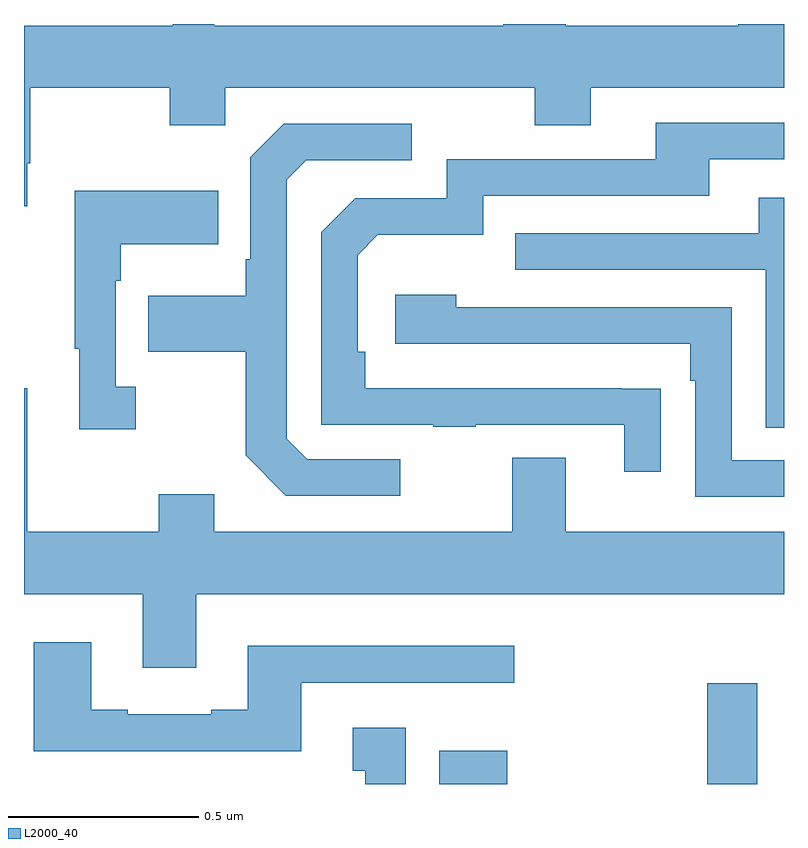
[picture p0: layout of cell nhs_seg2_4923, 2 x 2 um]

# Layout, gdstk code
import gdstk
lib = gdstk.Library(unit=1e-6, precision=1e-09)
def R(c, l, rs):  # rectangles x0, y0, x1, y1
    for r in rs: c.add(gdstk.rectangle(r[:2], r[2:], *l))
def P(c, l, *ps):  # polygons
    for p in ps: c.add(gdstk.Polygon(p, *l))
L2000_40 = (2000, 40)

nhs_seg2_4923 = lib.new_cell('nhs_seg2_4923')
R(nhs_seg2_4923, L2000_40, [(173.093,649.8,173.272,649.888), (173.798,649.8,173.929,650.065)])
P(nhs_seg2_4923, L2000_40, [(172.009,651.433),(172.017,651.433),(172.017,651.632),(172.384,651.632),(172.384,651.533),(172.53,651.533),(172.53,651.632),(173.344,651.632),(173.344,651.533),(173.491,651.533),(173.491,651.632),(174,651.632),(174,651.8),(173.879,651.8),(173.879,651.796),(173.425,651.796),(173.425,651.8),(173.261,651.8),(173.261,651.796),(172.501,651.796),(172.501,651.8),(172.392,651.8),(172.392,651.796),(172,651.796),(172,651.321),(172.009,651.321)],
  [(173.675,650.84),(173.573,650.84),(173.573,650.841),(172.898,650.841),(172.898,650.938),(172.878,650.938),(172.878,651.192),(172.931,651.245),(173.208,651.245),(173.208,651.348),(173.803,651.348),(173.803,651.444),(174,651.444),(174,651.54),(173.663,651.54),(173.663,651.444),(173.112,651.444),(173.112,651.342),(172.872,651.342),(172.782,651.252),(172.782,650.745),(173.077,650.745),(173.077,650.74),(173.189,650.74),(173.189,650.745),(173.579,650.745),(173.579,650.622),(173.675,650.622)],
  [(172.99,650.655),(172.746,650.655),(172.692,650.709),(172.692,651.39),(172.743,651.441),(173.02,651.441),(173.02,651.537),(172.683,651.537),(172.596,651.45),(172.596,651.181),(172.584,651.181),(172.584,651.085),(172.327,651.085),(172.327,650.938),(172.584,650.938),(172.584,650.665),(172.689,650.559),(172.99,650.559)],
  [(172.294,650.846),(172.242,650.846),(172.242,651.125),(172.255,651.125),(172.255,651.221),(172.511,651.221),(172.511,651.361),(172.134,651.361),(172.134,650.945),(172.145,650.945),(172.145,650.733),(172.294,650.733)],
  [(174,651.343),(173.933,651.343),(173.933,651.249),(173.293,651.249),(173.293,651.153),(173.952,651.153),(173.952,650.737),(174,650.737)],
  [(174,650.652),(173.862,650.652),(173.862,651.054),(173.138,651.054),(173.138,651.088),(172.977,651.088),(172.977,650.958),(173.753,650.958),(173.753,650.861),(173.766,650.861),(173.766,650.556),(174,650.556)],
  [(172.453,650.3),(174,650.3),(174,650.464),(173.425,650.464),(173.425,650.659),(173.285,650.659),(173.285,650.464),(172.501,650.464),(172.501,650.563),(172.354,650.563),(172.354,650.464),(172.009,650.464),(172.009,650.842),(172,650.842),(172,650.3),(172.313,650.3),(172.313,650.106),(172.453,650.106)],
  [(172.729,650.067),(173.29,650.067),(173.29,650.164),(172.589,650.164),(172.589,649.996),(172.493,649.996),(172.493,649.983),(172.273,649.983),(172.273,649.996),(172.177,649.996),(172.177,650.173),(172.025,650.173),(172.025,649.886),(172.729,649.886)],
  [(173.005,649.948),(172.865,649.948),(172.865,649.835),(172.898,649.835),(172.898,649.8),(173.005,649.8)])

lib.write_gds('nhs_seg2_4923.gds')
